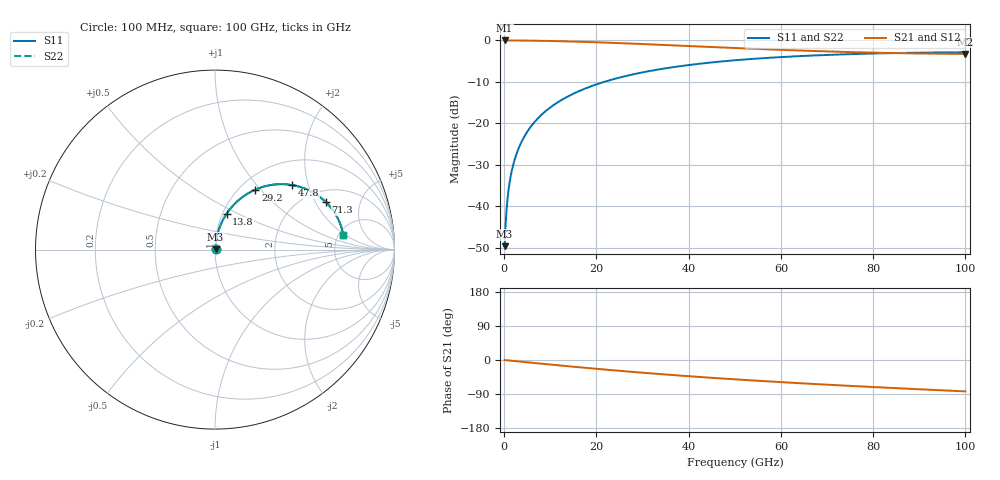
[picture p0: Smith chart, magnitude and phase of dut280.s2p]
! Touchstone file exported from HFSS 2026.1.0
!  File:  C:/ffzhzh/LocalFiles/Ansys_Project_Files/temp_train_RDL_280_1783502020_41296.aedt
!  Generated:  05:14:55 PM Jul  8, 2026
!  Design:  RDL
!  Project:  temp_train_RDL_280_1783502020_41296
! Variables:
!  h_bsmrdl = 2um
!  h_ox = 20um
!  h_rdl = 5um
!  h_sub = 80um
!  h_tmrdl = 2.43um
!  h_tsv = 80um
!  h_via = 3um
!  l_bsmrdl = 300um
!  l_sub = 643.03um
!  l_tmrdl = 243.03um
!  m_sub = 200um
!  pitch = 52.96um
!  r_tsv = 6um
!  s_tmrdl = 10um
!  w_bsmrdl = 18um
!  w_sub = 500um
!  w_tmrdl = 13.28um
!  x_tsv_center1 = 249.67um
!  x_tsv_center2 = 567.67um
!  x_tsv_center3 = 823.98um
!  x_tsv_center4 = 1141.98um
!  x_tsv_center5 = 1398.29um
!  x_tsv_center6 = 1716.29um
# GHz S MA R 50.000000
! Terminal data exported
! Port[1] = TM_RDL1_1_T1
! Port[2] = TM_RDL1_1_T2
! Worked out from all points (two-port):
!   1000 points, 100 MHz to 100 GHz, reference 50 ohm
!   highest |S21| = -0.03 dB at 100 MHz (marker M1); lowest = -3.3 dB at 100 GHz (marker M2)
!   |S21| within 3 dB of the highest: start of sweep to 82.8 GHz
!   lowest |S11| = -49.6 dB at 100 MHz (marker M3), VSWR 1.01, Z = 50.3 + j0.167 ohm
!   |S11| at or under -10 dB: start of sweep to 21.69 GHz
!   |S22| runs from -49.6 to -2.9 dB; largest |S21 - S12| = 3.6e-15
!   S11 on the Smith chart (normalised r, x): 100 MHz: 1.01, +0.00; 13.8 GHz: 1.05, +0.44; 29.2 GHz: 1.18, +0.94; 47.8 GHz: 1.51, +1.59; 71.3 GHz: 2.52, +2.44; 100 GHz: 5.45, +1.88
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0.1  0.003325 29.9  0.9971 -0.1  0.9971 -0.1  0.003325 29.9
! Gamma 0 0 0 0
! Port Impedance 50 0 50 0
0.4  0.007252 65.2  0.997 -0.5  0.997 -0.5  0.007252 65.2
0.9  0.01498 76.5  0.9967 -1.1  0.9967 -1.1  0.01498 76.5
1.1  0.0181 78.2  0.9966 -1.4  0.9966 -1.4  0.0181 78.2
1.4  0.02279 79.8  0.9964 -1.7  0.9964 -1.7  0.02279 79.8
1.8  0.02906 81.0  0.9961 -2.2  0.9961 -2.2  0.02906 81.0
2.3  0.03691 81.7  0.9958 -2.8  0.9958 -2.8  0.03691 81.7
3.6  0.05733 81.9  0.9946 -4.4  0.9946 -4.4  0.05733 81.9
5.4  0.08544 80.8  0.9923 -6.5  0.9923 -6.5  0.08544 80.8
7.6  0.1194 78.7  0.9884 -9.2  0.9884 -9.2  0.1194 78.7
10.4  0.1616 75.7  0.9818 -12.5  0.9818 -12.5  0.1616 75.7
13.8  0.211 72.0  0.9716 -16.4  0.9716 -16.4  0.211 72.0
16.8  0.2526 68.8  0.961 -19.8  0.961 -19.8  0.2526 68.8
22.5  0.3263 62.7  0.9377 -25.9  0.9377 -25.9  0.3263 62.7
29.2  0.403 56.0  0.9068 -32.8  0.9068 -32.8  0.403 56.0
33.4  0.4456 52.1  0.8865 -36.8  0.8865 -36.8  0.4456 52.1
47.8  0.5617 39.8  0.8182 -49.3  0.8182 -49.3  0.5616 39.8
50.1  0.5763 38.0  0.8081 -51.1  0.8081 -51.1  0.5763 38.0
66.7  0.6561 26.3  0.7458 -63.0  0.7458 -63.0  0.6561 26.3
71.3  0.6714 23.3  0.7323 -66.0  0.7323 -66.0  0.6714 23.3
83.4  0.7008 16.0  0.7048 -73.4  0.7048 -73.4  0.7008 16.0
100  0.7193 6.6  0.6863 -82.9  0.6863 -82.9  0.7193 6.7
